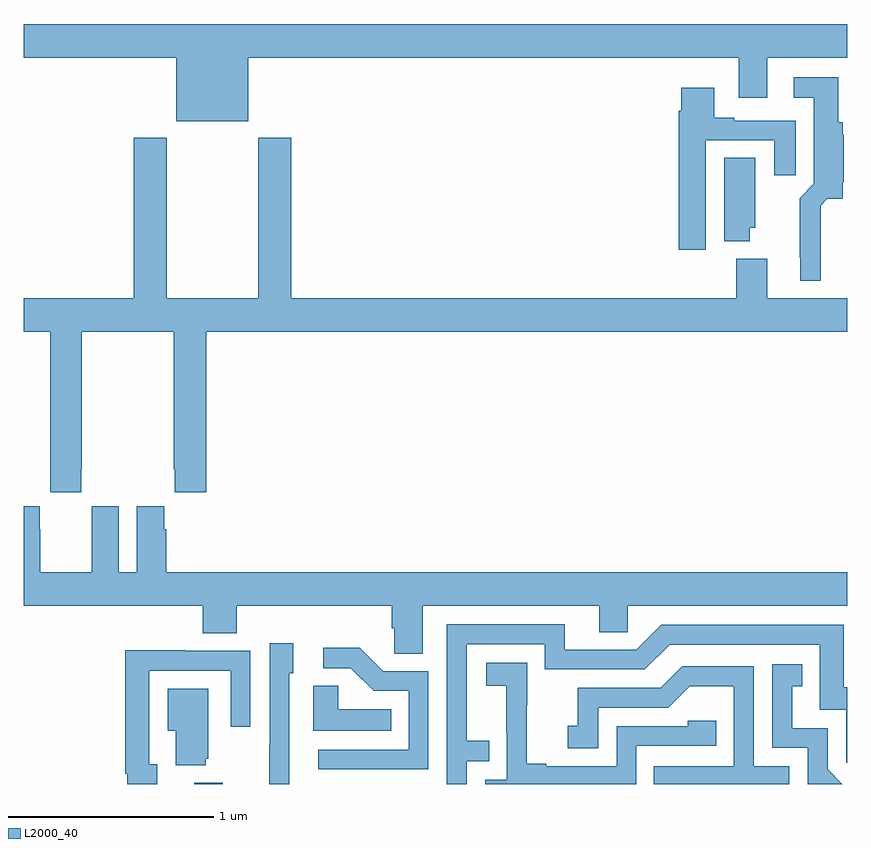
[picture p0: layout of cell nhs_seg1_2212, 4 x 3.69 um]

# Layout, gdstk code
import gdstk
lib = gdstk.Library(unit=1e-6, precision=1e-09)
def R(c, l, rs):  # rectangles x0, y0, x1, y1
    for r in rs: c.add(gdstk.rectangle(r[:2], r[2:], *l))
def P(c, l, *ps):  # polygons
    for p in ps: c.add(gdstk.Polygon(p, *l))
L2000_40 = (2000, 40)

nhs_seg1_2212 = lib.new_cell('nhs_seg1_2212')
R(nhs_seg1_2212, L2000_40, [(231.827,552.199,231.967,552.205)])
P(nhs_seg1_2212, L2000_40, [(232.09,555.728),(234.473,555.728),(234.473,555.534),(234.613,555.534),(234.613,555.728),(235,555.728),(235,555.892),(231,555.892),(231,555.728),(231.74,555.728),(231.74,555.419),(232.09,555.419)],
  [(234.871,555.008),(234.904,555.042),(234.978,555.042),(234.978,555.117),(234.984,555.123),(234.984,555.354),(234.978,555.354),(234.978,555.414),(234.958,555.414),(234.958,555.634),(234.741,555.634),(234.741,555.533),(234.839,555.533),(234.839,555.116),(234.769,555.046),(234.769,554.755),(234.773,554.755),(234.773,554.645),(234.871,554.645)],
  [(234.313,555.327),(234.647,555.327),(234.647,555.156),(234.751,555.156),(234.751,555.423),(234.451,555.423),(234.451,555.436),(234.355,555.436),(234.355,555.583),(234.194,555.583),(234.194,555.47),(234.182,555.47),(234.182,554.796),(234.313,554.796)],
  [(231.279,553.729),(231.282,553.729),(231.282,554.396),(231.727,554.396),(231.727,553.729),(231.733,553.729),(231.733,553.617),(231.887,553.617),(231.887,554.396),(235,554.396),(235,554.56),(234.613,554.56),(234.613,554.752),(234.461,554.752),(234.461,554.56),(232.298,554.56),(232.298,555.34),(232.138,555.34),(232.138,554.56),(231.693,554.56),(231.693,555.34),(231.533,555.34),(231.533,554.56),(231,554.56),(231,554.396),(231.127,554.396),(231.127,553.729),(231.129,553.729),(231.129,553.617),(231.279,553.617)],
  [(234.526,554.901),(234.553,554.901),(234.553,555.242),(234.404,555.242),(234.404,554.837),(234.526,554.837)],
  [(232.939,553.064),(233.795,553.064),(233.795,552.937),(233.934,552.937),(233.934,553.064),(235,553.064),(235,553.228),(231.692,553.228),(231.692,553.436),(231.682,553.436),(231.682,553.549),(231.548,553.549),(231.548,553.228),(231.46,553.228),(231.46,553.549),(231.33,553.549),(231.33,553.436),(231.329,553.436),(231.329,553.228),(231.079,553.228),(231.079,553.436),(231.078,553.436),(231.078,553.549),(231,553.549),(231,553.064),(231.869,553.064),(231.869,552.931),(232.034,552.931),(232.034,553.064),(232.787,553.064),(232.787,552.955),(232.8,552.955),(232.8,552.832),(232.939,552.832)],
  [(233.151,552.309),(233.261,552.309),(233.261,552.41),(233.151,552.41),(233.151,552.879),(233.532,552.879),(233.532,552.756),(234.018,552.756),(234.138,552.876),(234.867,552.876),(234.867,552.561),(234.996,552.561),(234.996,552.303),(235,552.303),(235,552.67),(234.983,552.67),(234.983,552.972),(234.096,552.972),(233.976,552.852),(233.629,552.852),(233.629,552.975),(233.055,552.975),(233.055,552.199),(233.151,552.199)],
  [(232.29,552.738),(232.309,552.738),(232.309,552.883),(232.194,552.883),(232.194,552.389),(232.192,552.389),(232.192,552.199),(232.29,552.199)],
  [(232.965,552.747),(232.746,552.747),(232.633,552.86),(232.455,552.86),(232.455,552.762),(232.589,552.762),(232.7,552.651),(232.869,552.651),(232.869,552.366),(232.431,552.366),(232.431,552.27),(232.965,552.27)],
  [(231.649,552.294),(231.609,552.294),(231.609,552.75),(232.005,552.75),(232.005,552.477),(232.101,552.477),(232.101,552.846),(231.785,552.846),(231.785,552.848),(231.493,552.848),(231.493,552.25),(231.501,552.25),(231.501,552.199),(231.649,552.199)],
  [(233.976,552.384),(234.365,552.384),(234.365,552.507),(234.225,552.507),(234.225,552.48),(233.88,552.48),(233.88,552.285),(233.539,552.285),(233.539,552.298),(233.444,552.298),(233.444,552.581),(233.445,552.581),(233.445,552.787),(233.247,552.787),(233.247,552.677),(233.345,552.677),(233.345,552.449),(233.346,552.449),(233.346,552.219),(233.241,552.219),(233.241,552.199),(233.976,552.199)],
  [(234.906,552.27),(234.906,552.471),(234.733,552.471),(234.733,552.675),(234.782,552.675),(234.782,552.781),(234.636,552.781),(234.636,552.375),(234.81,552.375),(234.81,552.199),(234.977,552.199)],
  [(234.72,552.285),(234.546,552.285),(234.546,552.771),(234.2,552.771),(234.095,552.666),(233.692,552.666),(233.692,552.481),(233.643,552.481),(233.643,552.372),(233.79,552.372),(233.79,552.57),(234.132,552.57),(234.236,552.674),(234.45,552.674),(234.45,552.285),(234.061,552.285),(234.061,552.199),(234.72,552.199)],
  [(232.784,552.562),(232.527,552.562),(232.527,552.677),(232.406,552.677),(232.406,552.458),(232.784,552.458)],
  [(231.884,552.321),(231.895,552.321),(231.895,552.661),(231.698,552.661),(231.698,552.458),(231.737,552.458),(231.737,552.29),(231.884,552.29)])

lib.write_gds('nhs_seg1_2212.gds')
